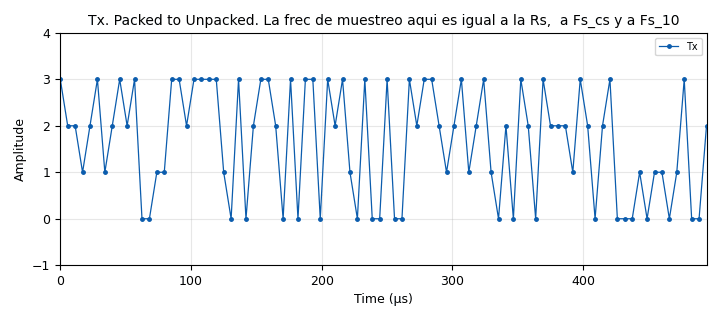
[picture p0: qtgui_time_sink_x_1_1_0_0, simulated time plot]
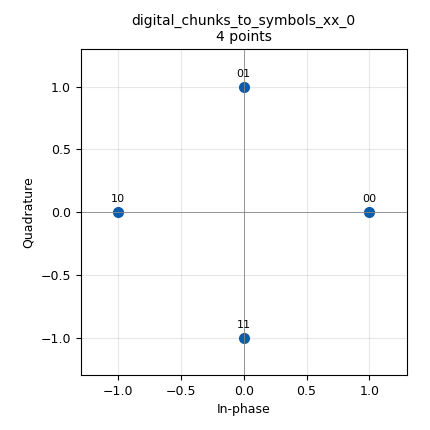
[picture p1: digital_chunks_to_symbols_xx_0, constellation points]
<?xml version='1.0' encoding='utf-8'?>
<?grc format='1' created='3.7.9'?>
<flow_graph>
<block>
<key>options</key>
<param><key>id</key><value>MPSK</value></param>
<param><key>category</key><value>Custom</value></param>
<param><key>generate_options</key><value>qt_gui</value></param>
<param><key>run</key><value>run_stop</value></param>
</block>
<block>
<key>variable</key>
<param><key>id</key><value>B</value></param>
<param><key>value</key><value>Fs_u</value></param>
</block>
<block>
<key>variable</key>
<param><key>id</key><value>BWaudio</value></param>
<param><key>value</key><value>samp_rate/2</value></param>
</block>
<block>
<key>variable</key>
<param><key>id</key><value>Constelacion</value></param>
<param><key>value</key><value>[1.+0.j,   0.+1.j,   -1.+0.j,  0.-1.j ]</value></param>
</block>
<block>
<key>variable</key>
<param><key>id</key><value>Fc</value></param>
<param><key>value</key><value>15000000</value></param>
</block>
<block>
<key>variable</key>
<param><key>id</key><value>Fs_10</value></param>
<param><key>value</key><value>Fs_cs</value></param>
</block>
<block>
<key>variable</key>
<param><key>id</key><value>Fs_9</value></param>
<param><key>value</key><value>Fs_u</value></param>
</block>
<block>
<key>variable</key>
<param><key>id</key><value>Fs_cs</value></param>
<param><key>value</key><value>Rs</value></param>
</block>
<block>
<key>variable</key>
<param><key>id</key><value>Fs_u</value></param>
<param><key>value</key><value>Fs_cs*Sps</value></param>
</block>
<block>
<key>variable_qtgui_range</key>
<param><key>id</key><value>Kruido</value></param>
<param><key>value</key><value>0.03</value></param>
<param><key>gui_hint</key><value>1,3,1,1</value></param>
<param><key>label</key><value>Nivel del Ruido</value></param>
<param><key>orient</key><value>Qt.Horizontal</value></param>
<param><key>start</key><value>0</value></param>
<param><key>step</key><value>0.001</value></param>
<param><key>stop</key><value>1</value></param>
</block>
<block>
<key>variable</key>
<param><key>id</key><value>M</value></param>
<param><key>value</key><value>len(Constelacion)</value></param>
</block>
<block>
<key>variable</key>
<param><key>id</key><value>Nbsam</value></param>
<param><key>value</key><value>math.log(Nq,2)</value></param>
</block>
<block>
<key>variable</key>
<param><key>id</key><value>Nbsym</value></param>
<param><key>value</key><value>int(math.log(len(Constelacion),2))</value></param>
</block>
<block>
<key>variable</key>
<param><key>id</key><value>Np</value></param>
<param><key>value</key><value>Nbsam/Nbsym</value></param>
</block>
<block>
<key>variable</key>
<param><key>id</key><value>Nq</value></param>
<param><key>value</key><value>256</value></param>
</block>
<block>
<key>variable</key>
<param><key>id</key><value>Rb</value></param>
<param><key>value</key><value>Rs*Nbsym</value></param>
</block>
<block>
<key>variable</key>
<param><key>id</key><value>Rs</value></param>
<param><key>value</key><value>samp_rate*Np</value></param>
</block>
<block>
<key>variable</key>
<param><key>id</key><value>Sps</value></param>
<param><key>value</key><value>16</value></param>
</block>
<block>
<key>variable</key>
<param><key>id</key><value>Tmax_scope</value></param>
<param><key>value</key><value>0.0005</value></param>
</block>
<block>
<key>variable</key>
<param><key>id</key><value>ntaps</value></param>
<param><key>value</key><value>512</value></param>
</block>
<block>
<key>variable</key>
<param><key>id</key><value>rolloff</value></param>
<param><key>value</key><value>0.5</value></param>
</block>
<block>
<key>variable_qtgui_check_box</key>
<param><key>id</key><value>run_stop</value></param>
<param><key>value</key><value>True</value></param>
<param><key>false</key><value>False</value></param>
<param><key>gui_hint</key><value>1,0,1,1</value></param>
<param><key>label</key><value>Inicial/Parar</value></param>
<param><key>true</key><value>True</value></param>
<param><key>type</key><value>int</value></param>
</block>
<block>
<key>variable</key>
<param><key>id</key><value>samp_rate</value></param>
<param><key>value</key><value>44000</value></param>
</block>
<block>
<key>E3TRadio_usrp2usrp1_cc</key>
<param><key>id</key><value>E3TRadio_usrp2usrp1_cc_0</value></param>
<param><key>Am</key><value>0.8</value></param>
<param><key>BW</key><value>B/2.</value></param>
<param><key>Katt</key><value>10.</value></param>
<param><key>samp_rate</key><value>Fs_u</value></param>
<param><key>Vruido</key><value>Kruido</value></param>
<param><key>Phoffset</key><value>0.</value></param>
<param><key>Foffset</key><value>0.</value></param>
<param><key>Toffset</key><value>0</value></param>
</block>
<block>
<key>E3TRadio_usrp2usrp1_cc</key>
<param><key>id</key><value>E3TRadio_usrp2usrp1_cc_0_0</value></param>
<param><key>Am</key><value>0.8</value></param>
<param><key>BW</key><value>B/2.</value></param>
<param><key>Katt</key><value>10.</value></param>
<param><key>samp_rate</key><value>Fs_u</value></param>
<param><key>Vruido</key><value>Kruido</value></param>
<param><key>Phoffset</key><value>0.</value></param>
<param><key>Foffset</key><value>0.</value></param>
<param><key>Toffset</key><value>0</value></param>
</block>
<block>
<key>E3TRadio_zero_order_hold2_cc</key>
<param><key>id</key><value>E3TRadio_zero_order_hold2_cc_0</value></param>
<param><key>k</key><value>Sps</value></param>
</block>
<block>
<key>analog_random_source_x</key>
<param><key>id</key><value>analog_random_source_x_0</value></param>
<param><key>max</key><value>256</value></param>
<param><key>min</key><value>0</value></param>
<param><key>num_samps</key><value>1000000</value></param>
<param><key>type</key><value>byte</value></param>
<param><key>repeat</key><value>True</value></param>
</block>
<block>
<key>audio_source</key>
<param><key>id</key><value>audio_source_0</value></param>
<param><key>samp_rate</key><value>samp_rate</value></param>
</block>
<block>
<key>b_Raised_cosine</key>
<param><key>id</key><value>b_Raised_cosine_0</value></param>
<param><key>ntaps</key><value>ntaps</value></param>
<param><key>rolloff</key><value>rolloff</value></param>
<param><key>samp_rate</key><value>Fs_u</value></param>
<param><key>sps</key><value>Sps</value></param>
</block>
<block>
<key>b_accum_cc</key>
<param><key>id</key><value>b_accum_cc_0</value></param>
<param><key>M</key><value>0</value></param>
<param><key>N</key><value>Sps</value></param>
</block>
<block>
<key>b_quantizer_fb</key>
<param><key>id</key><value>b_quantizer_fb_0</value></param>
<param><key>_enabled</key><value>0</value></param>
<param><key>ValorPico</key><value>1</value></param>
</block>
<block>
<key>b_sampler_cc</key>
<param><key>id</key><value>b_sampler_cc_0</value></param>
<param><key>DelayDiez</key><value>Sps-1</value></param>
<param><key>Sps</key><value>Sps</value></param>
</block>
<block>
<key>b_tunner</key>
<param><key>id</key><value>b_tunner_0</value></param>
<param><key>fdesv</key><value>0</value></param>
<param><key>phi</key><value>0</value></param>
<param><key>samp_rate</key><value>Fs_u</value></param>
</block>
<block>
<key>blocks_char_to_float</key>
<param><key>id</key><value>blocks_char_to_float_0</value></param>
<param><key>scale</key><value>1</value></param>
</block>
<block>
<key>blocks_char_to_float</key>
<param><key>id</key><value>blocks_char_to_float_0_0</value></param>
<param><key>scale</key><value>1</value></param>
</block>
<block>
<key>blocks_multiply_const_vxx</key>
<param><key>id</key><value>blocks_multiply_const_vxx_0</value></param>
<param><key>const</key><value>100.</value></param>
<param><key>type</key><value>float</value></param>
</block>
<block>
<key>blocks_packed_to_unpacked_xx</key>
<param><key>id</key><value>blocks_packed_to_unpacked_xx_0</value></param>
<param><key>bits_per_chunk</key><value>Nbsym</value></param>
<param><key>endianness</key><value>gr.GR_MSB_FIRST</value></param>
<param><key>type</key><value>byte</value></param>
</block>
<block>
<key>blocks_throttle</key>
<param><key>id</key><value>blocks_throttle_0</value></param>
<param><key>samples_per_second</key><value>Fs_u</value></param>
<param><key>type</key><value>complex</value></param>
</block>
<block>
<key>digital_chunks_to_symbols_xx</key>
<param><key>id</key><value>digital_chunks_to_symbols_xx_0</value></param>
<param><key>dimension</key><value>1</value></param>
<param><key>in_type</key><value>byte</value></param>
<param><key>out_type</key><value>complex</value></param>
<param><key>symbol_table</key><value>Constelacion</value></param>
</block>
<block>
<key>import</key>
<param><key>id</key><value>import_0</value></param>
<param><key>import</key><value>import math</value></param>
</block>
<block>
<key>import</key>
<param><key>id</key><value>import_0_0</value></param>
<param><key>import</key><value>import numpy</value></param>
</block>
<block>
<key>import</key>
<param><key>id</key><value>import_0_0_0</value></param>
<param><key>import</key><value>import random</value></param>
</block>
<block>
<key>qtgui_tab_widget</key>
<param><key>id</key><value>pestana</value></param>
<param><key>label0</key><value>P1.Fs_u</value></param>
<param><key>label1</key><value>P1.Fs_cs</value></param>
<param><key>label2</key><value>P1.samp_rate</value></param>
<param><key>label3</key><value>P1.Fs_9</value></param>
<param><key>label4</key><value>P1.Fs_10</value></param>
<param><key>label5</key><value>P2.B</value></param>
<param><key>label6</key><value>P2.BWaudio</value></param>
<param><key>label7</key><value>P2.PSD comparativa en antena Rx</value></param>
<param><key>label8</key><value>P2.senal en 8</value></param>
<param><key>label9</key><value>Rx Constelacion</value></param>
<param><key>num_tabs</key><value>10</value></param>
</block>
<block>
<key>qtgui_const_sink_x</key>
<param><key>id</key><value>qtgui_const_sink_x_0_1</value></param>
<param><key>gui_hint</key><value>pestana@9:0,0,1,1</value></param>
<param><key>label1</key><value>Tunner</value></param>
<param><key>style1</key><value>1</value></param>
<param><key>label2</key><value>Muestreador</value></param>
<param><key>name</key><value>"Rx - Tunner versus muestreador"</value></param>
<param><key>nconnections</key><value>2</value></param>
<param><key>size</key><value>1024*4</value></param>
<param><key>type</key><value>complex</value></param>
<param><key>xmax</key><value>.25</value></param>
<param><key>xmin</key><value>-.25</value></param>
<param><key>ymax</key><value>.15</value></param>
<param><key>ymin</key><value>-.15</value></param>
</block>
<block>
<key>qtgui_freq_sink_x</key>
<param><key>id</key><value>qtgui_freq_sink_x_0_0</value></param>
<param><key>autoscale</key><value>True</value></param>
<param><key>average</key><value>0.05</value></param>
<param><key>bw</key><value>Fs_u</value></param>
<param><key>fc</key><value>Fc</value></param>
<param><key>ctrlpanel</key><value>True</value></param>
<param><key>fftsize</key><value>1024</value></param>
<param><key>gui_hint</key><value>pestana@5:0,0,1,2</value></param>
<param><key>name</key><value>"Tx PSD en antena. Verifique aqui el ancho de banda B"</value></param>
<param><key>showports</key><value>True</value></param>
<param><key>type</key><value>complex</value></param>
<param><key>wintype</key><value>firdes.WIN_BLACKMAN_hARRIS</value></param>
</block>
<block>
<key>qtgui_freq_sink_x</key>
<param><key>id</key><value>qtgui_freq_sink_x_0_0_0</value></param>
<param><key>autoscale</key><value>True</value></param>
<param><key>average</key><value>0.05</value></param>
<param><key>bw</key><value>samp_rate</value></param>
<param><key>fc</key><value>0</value></param>
<param><key>ctrlpanel</key><value>True</value></param>
<param><key>fftsize</key><value>1024</value></param>
<param><key>gui_hint</key><value>pestana@6:0,0,1,2</value></param>
<param><key>name</key><value>"PSD senal Audio. Verifique aqui el ancho de banda atribuido a esta senal"</value></param>
<param><key>showports</key><value>True</value></param>
<param><key>freqhalf</key><value>False</value></param>
<param><key>type</key><value>float</value></param>
<param><key>wintype</key><value>firdes.WIN_BLACKMAN_hARRIS</value></param>
</block>
<block>
<key>qtgui_freq_sink_x</key>
<param><key>id</key><value>qtgui_freq_sink_x_0_0_1</value></param>
<param><key>autoscale</key><value>True</value></param>
<param><key>average</key><value>0.05</value></param>
<param><key>bw</key><value>Fs_u</value></param>
<param><key>fc</key><value>Fc</value></param>
<param><key>ctrlpanel</key><value>True</value></param>
<param><key>fftsize</key><value>1024</value></param>
<param><key>gui_hint</key><value>pestana@7:0,0,1,2</value></param>
<param><key>label1</key><value>Sin Filtro Coseno Alzado</value></param>
<param><key>label2</key><value>Con Filtro Coseno Alzado</value></param>
<param><key>name</key><value>"Rx. PSD en antena. Mueva la palanca Avg a cero para un mejor promediado"</value></param>
<param><key>nconnections</key><value>2</value></param>
<param><key>showports</key><value>True</value></param>
<param><key>type</key><value>complex</value></param>
<param><key>wintype</key><value>firdes.WIN_BLACKMAN_hARRIS</value></param>
<param><key>ymax</key><value>-30</value></param>
<param><key>ymin</key><value>-80</value></param>
</block>
<block>
<key>qtgui_time_sink_x</key>
<param><key>id</key><value>qtgui_time_sink_x_1_0</value></param>
<param><key>ctrlpanel</key><value>True</value></param>
<param><key>gui_hint</key><value>pestana@8:0,0,1,2</value></param>
<param><key>color1</key><value>"blue"</value></param>
<param><key>label1</key><value>I</value></param>
<param><key>color2</key><value>"red"</value></param>
<param><key>label2</key><value>Q</value></param>
<param><key>name</key><value>"b_tunner. Senal en el tiempo"</value></param>
<param><key>size</key><value>Sps*10</value></param>
<param><key>srate</key><value>Fs_10</value></param>
<param><key>type</key><value>complex</value></param>
<param><key>ymax</key><value>0.3</value></param>
<param><key>ymin</key><value>-0.3</value></param>
</block>
<block>
<key>qtgui_time_sink_x</key>
<param><key>id</key><value>qtgui_time_sink_x_1_0_0</value></param>
<param><key>ctrlpanel</key><value>True</value></param>
<param><key>gui_hint</key><value>pestana@3:0,0,1,2</value></param>
<param><key>color1</key><value>"blue"</value></param>
<param><key>label1</key><value>I</value></param>
<param><key>marker1</key><value>0</value></param>
<param><key>color2</key><value>"red"</value></param>
<param><key>label2</key><value>Q</value></param>
<param><key>marker2</key><value>0</value></param>
<param><key>name</key><value>"Rx. b_Accum_c c.Puede verificar aqui el tiempo de muestreo y la frecuencia de muestreo Fs_9"</value></param>
<param><key>size</key><value>Sps*8</value></param>
<param><key>srate</key><value>Fs_9</value></param>
<param><key>type</key><value>complex</value></param>
<param><key>ymax</key><value>0.2</value></param>
<param><key>ymin</key><value>-0.2</value></param>
</block>
<block>
<key>qtgui_time_sink_x</key>
<param><key>id</key><value>qtgui_time_sink_x_1_1</value></param>
<param><key>ctrlpanel</key><value>True</value></param>
<param><key>gui_hint</key><value>pestana@0:1,0,1,2</value></param>
<param><key>color1</key><value>"blue"</value></param>
<param><key>label1</key><value>I</value></param>
<param><key>marker1</key><value>0</value></param>
<param><key>color2</key><value>"red"</value></param>
<param><key>label2</key><value>Q</value></param>
<param><key>marker2</key><value>0</value></param>
<param><key>name</key><value>"Tx. USRP Sink. Fs_u puede verificarse a partir de medir el tiempo de muestreo"</value></param>
<param><key>size</key><value>Sps*8</value></param>
<param><key>srate</key><value>Fs_u</value></param>
<param><key>type</key><value>complex</value></param>
<param><key>ymax</key><value>1.5</value></param>
<param><key>ymin</key><value>-1.5</value></param>
</block>
<block>
<key>qtgui_time_sink_x</key>
<param><key>id</key><value>qtgui_time_sink_x_1_1_0_0</value></param>
<param><key>ctrlpanel</key><value>True</value></param>
<param><key>gui_hint</key><value>pestana@1:0,0,1,1</value></param>
<param><key>color1</key><value>"blue"</value></param>
<param><key>label1</key><value>Tx</value></param>
<param><key>marker1</key><value>0</value></param>
<param><key>name</key><value>"Tx. Packed to Unpacked. La frec de muestreo aqui es igual a la Rs,  a Fs_cs y a Fs_10"</value></param>
<param><key>size</key><value>int(Tmax_scope*samp_rate*Np)</value></param>
<param><key>srate</key><value>Fs_cs</value></param>
<param><key>type</key><value>float</value></param>
<param><key>ymax</key><value>M</value></param>
</block>
<block>
<key>qtgui_time_sink_x</key>
<param><key>id</key><value>qtgui_time_sink_x_1_1_0_0_0</value></param>
<param><key>ctrlpanel</key><value>True</value></param>
<param><key>gui_hint</key><value>pestana@2:1,0,1,1</value></param>
<param><key>color1</key><value>"blue"</value></param>
<param><key>label1</key><value>cuantizado</value></param>
<param><key>marker1</key><value>0</value></param>
<param><key>color2</key><value>"red"</value></param>
<param><key>label2</key><value>original, amplificado en 100 </value></param>
<param><key>marker2</key><value>0</value></param>
<param><key>name</key><value>"Tx.Audio. Se puede mediar aqui el samp_rate"</value></param>
<param><key>nconnections</key><value>2</value></param>
<param><key>size</key><value>int(Tmax_scope*samp_rate)</value></param>
<param><key>srate</key><value>samp_rate</value></param>
<param><key>type</key><value>float</value></param>
<param><key>ymax</key><value>150</value></param>
<param><key>ymin</key><value>-150</value></param>
</block>
<block>
<key>qtgui_time_sink_x</key>
<param><key>id</key><value>qtgui_time_sink_x_1_1_0_0_2</value></param>
<param><key>ctrlpanel</key><value>True</value></param>
<param><key>gui_hint</key><value>pestana@4:0,0,1,1</value></param>
<param><key>color1</key><value>"blue"</value></param>
<param><key>label1</key><value>Tx</value></param>
<param><key>marker1</key><value>0</value></param>
<param><key>color2</key><value>"red"</value></param>
<param><key>label2</key><value>Rx</value></param>
<param><key>marker2</key><value>0</value></param>
<param><key>name</key><value>"Rx. b_sampler_c c. Puede verificar aqui  la frecuencia de muestreo Fs_10"</value></param>
<param><key>size</key><value>8</value></param>
<param><key>srate</key><value>Fs_10</value></param>
<param><key>type</key><value>complex</value></param>
<param><key>ymax</key><value>0.2</value></param>
<param><key>ymin</key><value>-0.2</value></param>
</block>
<connection><source_block_id>E3TRadio_usrp2usrp1_cc_0</source_block_id><sink_block_id>b_tunner_0</sink_block_id><source_key>0</source_key><sink_key>0</sink_key></connection>
<connection><source_block_id>E3TRadio_usrp2usrp1_cc_0</source_block_id><sink_block_id>qtgui_freq_sink_x_0_0_1</sink_block_id><source_key>0</source_key><sink_key>0</sink_key></connection>
<connection><source_block_id>E3TRadio_usrp2usrp1_cc_0_0</source_block_id><sink_block_id>qtgui_freq_sink_x_0_0_1</sink_block_id><source_key>0</source_key><sink_key>1</sink_key></connection>
<connection><source_block_id>E3TRadio_zero_order_hold2_cc_0</source_block_id><sink_block_id>blocks_throttle_0</sink_block_id><source_key>0</source_key><sink_key>0</sink_key></connection>
<connection><source_block_id>analog_random_source_x_0</source_block_id><sink_block_id>blocks_char_to_float_0_0</sink_block_id><source_key>0</source_key><sink_key>0</sink_key></connection>
<connection><source_block_id>analog_random_source_x_0</source_block_id><sink_block_id>blocks_packed_to_unpacked_xx_0</sink_block_id><source_key>0</source_key><sink_key>0</sink_key></connection>
<connection><source_block_id>audio_source_0</source_block_id><sink_block_id>b_quantizer_fb_0</sink_block_id><source_key>0</source_key><sink_key>0</sink_key></connection>
<connection><source_block_id>audio_source_0</source_block_id><sink_block_id>blocks_multiply_const_vxx_0</sink_block_id><source_key>0</source_key><sink_key>0</sink_key></connection>
<connection><source_block_id>audio_source_0</source_block_id><sink_block_id>qtgui_freq_sink_x_0_0_0</sink_block_id><source_key>0</source_key><sink_key>0</sink_key></connection>
<connection><source_block_id>b_Raised_cosine_0</source_block_id><sink_block_id>E3TRadio_usrp2usrp1_cc_0_0</sink_block_id><source_key>0</source_key><sink_key>0</sink_key></connection>
<connection><source_block_id>b_accum_cc_0</source_block_id><sink_block_id>b_sampler_cc_0</sink_block_id><source_key>0</source_key><sink_key>0</sink_key></connection>
<connection><source_block_id>b_accum_cc_0</source_block_id><sink_block_id>qtgui_time_sink_x_1_0_0</sink_block_id><source_key>0</source_key><sink_key>0</sink_key></connection>
<connection><source_block_id>b_quantizer_fb_0</source_block_id><sink_block_id>blocks_char_to_float_0_0</sink_block_id><source_key>0</source_key><sink_key>0</sink_key></connection>
<connection><source_block_id>b_quantizer_fb_0</source_block_id><sink_block_id>blocks_packed_to_unpacked_xx_0</sink_block_id><source_key>0</source_key><sink_key>0</sink_key></connection>
<connection><source_block_id>b_sampler_cc_0</source_block_id><sink_block_id>qtgui_const_sink_x_0_1</sink_block_id><source_key>0</source_key><sink_key>1</sink_key></connection>
<connection><source_block_id>b_sampler_cc_0</source_block_id><sink_block_id>qtgui_time_sink_x_1_1_0_0_2</sink_block_id><source_key>1</source_key><sink_key>0</sink_key></connection>
<connection><source_block_id>b_tunner_0</source_block_id><sink_block_id>b_accum_cc_0</sink_block_id><source_key>0</source_key><sink_key>0</sink_key></connection>
<connection><source_block_id>b_tunner_0</source_block_id><sink_block_id>qtgui_const_sink_x_0_1</sink_block_id><source_key>0</source_key><sink_key>0</sink_key></connection>
<connection><source_block_id>b_tunner_0</source_block_id><sink_block_id>qtgui_time_sink_x_1_0</sink_block_id><source_key>0</source_key><sink_key>0</sink_key></connection>
<connection><source_block_id>blocks_char_to_float_0</source_block_id><sink_block_id>qtgui_time_sink_x_1_1_0_0</sink_block_id><source_key>0</source_key><sink_key>0</sink_key></connection>
<connection><source_block_id>blocks_char_to_float_0_0</source_block_id><sink_block_id>qtgui_time_sink_x_1_1_0_0_0</sink_block_id><source_key>0</source_key><sink_key>0</sink_key></connection>
<connection><source_block_id>blocks_multiply_const_vxx_0</source_block_id><sink_block_id>qtgui_time_sink_x_1_1_0_0_0</sink_block_id><source_key>0</source_key><sink_key>1</sink_key></connection>
<connection><source_block_id>blocks_packed_to_unpacked_xx_0</source_block_id><sink_block_id>blocks_char_to_float_0</sink_block_id><source_key>0</source_key><sink_key>0</sink_key></connection>
<connection><source_block_id>blocks_packed_to_unpacked_xx_0</source_block_id><sink_block_id>digital_chunks_to_symbols_xx_0</sink_block_id><source_key>0</source_key><sink_key>0</sink_key></connection>
<connection><source_block_id>blocks_throttle_0</source_block_id><sink_block_id>E3TRadio_usrp2usrp1_cc_0</sink_block_id><source_key>0</source_key><sink_key>0</sink_key></connection>
<connection><source_block_id>blocks_throttle_0</source_block_id><sink_block_id>qtgui_freq_sink_x_0_0</sink_block_id><source_key>0</source_key><sink_key>0</sink_key></connection>
<connection><source_block_id>blocks_throttle_0</source_block_id><sink_block_id>qtgui_time_sink_x_1_1</sink_block_id><source_key>0</source_key><sink_key>0</sink_key></connection>
<connection><source_block_id>digital_chunks_to_symbols_xx_0</source_block_id><sink_block_id>E3TRadio_zero_order_hold2_cc_0</sink_block_id><source_key>0</source_key><sink_key>0</sink_key></connection>
<connection><source_block_id>digital_chunks_to_symbols_xx_0</source_block_id><sink_block_id>b_Raised_cosine_0</sink_block_id><source_key>0</source_key><sink_key>0</sink_key></connection>
</flow_graph>
